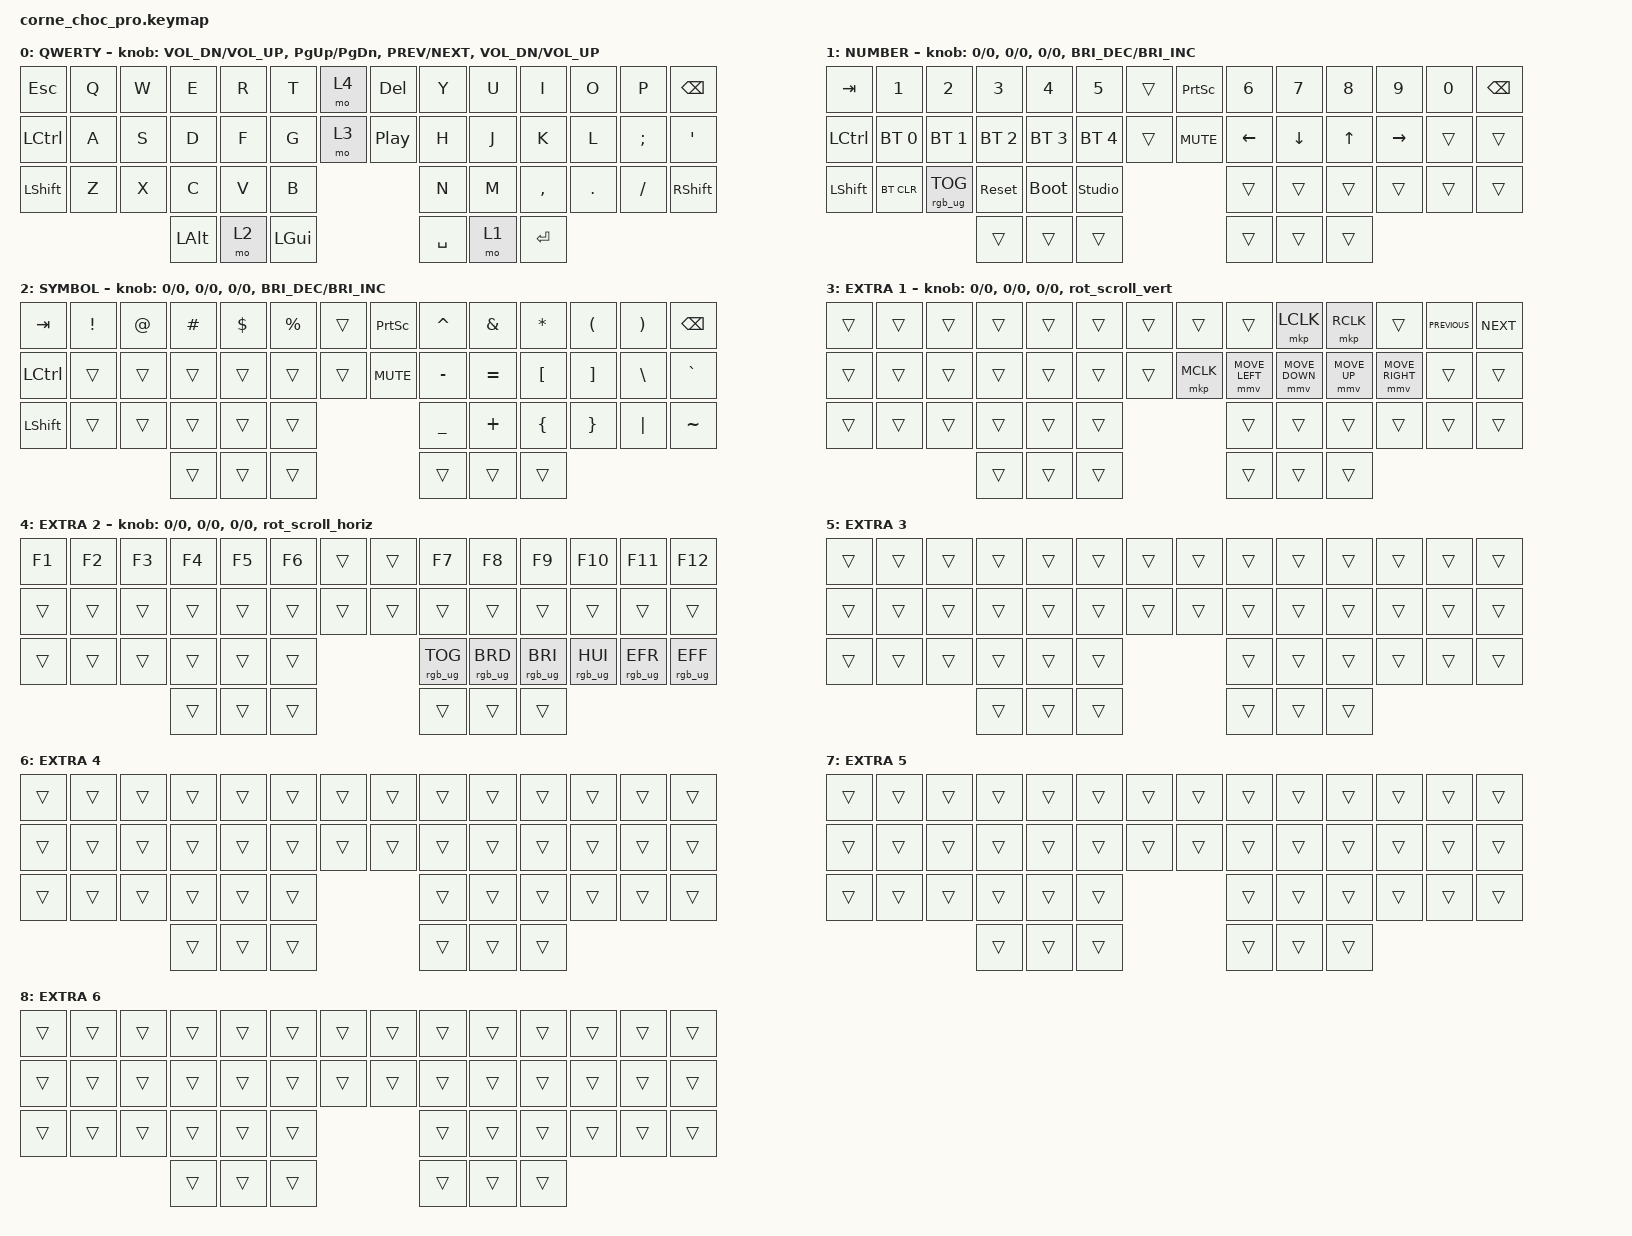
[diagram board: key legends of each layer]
/*
 * Copyright (c) 2020 The ZMK Contributors
 *
 * SPDX-License-Identifier: MIT
 */

#include <behaviors.dtsi>
#include <dt-bindings/zmk/bt.h>
#include <dt-bindings/zmk/keys.h>
#define ZMK_POINTING_DEFAULT_SCRL_VAL 200
#include <dt-bindings/zmk/pointing.h>
#include <dt-bindings/zmk/rgb.h>

/ {
    chosen { zmk,physical-layout = &default_layout; };

    behaviors {
        rot_scroll_vert: rot_scroll_vert {
            compatible = "zmk,behavior-sensor-rotate";
            #sensor-binding-cells = <0>;
            bindings = <&msc SCRL_DOWN>, <&msc SCRL_UP>;
            tap-ms = <20>;
        };

        rot_scroll_horiz: rot_scroll_horiz {
            compatible = "zmk,behavior-sensor-rotate";
            #sensor-binding-cells = <0>;
            bindings = <&msc SCRL_LEFT>, <&msc SCRL_RIGHT>;
            tap-ms = <20>;
        };
    };
};

/ {
    keymap {
        compatible = "zmk,keymap";

        default_layer {
            display-name = "QWERTY";

            // --------------------------------------------------------------------------------
            // |  TAB |  Q  |  W  |  E  |  R  |  T  |  MUTE |  PP   |  Y  |  U   |  I  |  O  |  P  | BSPC |
            // | CTRL |  A  |  S  |  D  |  F  |  G  |  LALT |  RALT |  H  |  J   |  K  |  L  |  ;  |  '   |
            // | SHFT |  Z  |  X  |  C  |  V  |  B  |               |  N  |  M   |  ,  |  .  |  /  | ESC  |
            //                    | GUI | LWR | SPC |               | ENT | RSE  | ALT |

            bindings = <
&kp ESC    &kp Q  &kp W  &kp E         &kp R  &kp T         &mo 4  &kp DELETE        &kp Y      &kp U  &kp I       &kp O    &kp P     &kp BSPC
&kp LCTRL  &kp A  &kp S  &kp D         &kp F  &kp G         &mo 3  &kp C_PLAY_PAUSE  &kp H      &kp J  &kp K       &kp L    &kp SEMI  &kp SQT
&kp LSHFT  &kp Z  &kp X  &kp C         &kp V  &kp B                                  &kp N      &kp M  &kp COMMA   &kp DOT  &kp FSLH  &kp RSHIFT
                         &kp LEFT_ALT  &mo 2  &kp LEFT_GUI                           &kp SPACE  &mo 1  &kp RETURN
            >;

            sensor-bindings =
                <&inc_dec_kp C_VOL_DN C_VOL_UP>,
                <&inc_dec_kp PG_UP PG_DN>,
                <&inc_dec_kp C_PREV C_NEXT>,
                <&inc_dec_kp C_VOL_DN C_VOL_UP>;
        };

        lower_layer {
            display-name = "NUMBER";

            // -----------------------------------------------------------------------------------------
            // |  TAB |  1  |  2  |  3  |  4  |  5    |  LCTRL | RCTRL |  6  |  7  |  8  |  9  |  0  | BSPC |
            // | CTRL | BT1 | BT2 | BT3 | BT4 | BT5   |  LALT  | RALT  | LFT | DWN |  UP | RGT |     |      |
            // | SHFT | BTCR| RGB | RST | BOOT| Unlock|        |       |     |     |     |     |     |      |
            //                    | GUI |     | SPC   |        | ENT   |     | ALT |

            bindings = <
&kp TAB    &kp N1        &kp N2           &kp N3        &kp N4        &kp N5          &trans  &kp PRINTSCREEN  &kp N6    &kp N7    &kp N8  &kp N9     &kp N0  &kp BSPC
&kp LCTRL  &bt BT_SEL 0  &bt BT_SEL 1     &bt BT_SEL 2  &bt BT_SEL 3  &bt BT_SEL 4    &trans  &kp C_MUTE       &kp LEFT  &kp DOWN  &kp UP  &kp RIGHT  &trans  &trans
&kp LSHFT  &bt BT_CLR    &rgb_ug RGB_TOG  &sys_reset    &bootloader   &studio_unlock                           &trans    &trans    &trans  &trans     &trans  &trans
                                          &trans        &trans        &trans                                   &trans    &trans    &trans
            >;

            sensor-bindings =
                <&inc_dec_kp 0 0>,
                <&inc_dec_kp 0 0>,
                <&inc_dec_kp 0 0>,
                <&inc_dec_kp C_BRI_DEC C_BRI_INC>;
        };

        raise_layer {
            display-name = "SYMBOL";

            // -----------------------------------------------------------------------------------------
            // |  TAB |  !  |  @  |  #  |  $  |  %  | LCTRL | RCTRL |  ^  |  &  |  *  |  (  |  )  | BSPC |
            // | CTRL |     |     |     |     |     |  LALT | RALT  |  -  |  =  |  [  |  ]  |  \  |  `   |
            // | SHFT |     |     |     |     |     |               |  _  |  +  |  {  |  }  | "|" |  ~   |
            //                    | GUI |     | SPC |               | ENT |     | ALT |

            bindings = <
&kp TAB    &kp EXCL  &kp AT  &kp HASH  &kp DLLR  &kp PRCNT  &trans  &kp PRINTSCREEN  &kp CARET  &kp AMPS   &kp ASTRK  &kp LPAR  &kp RPAR  &kp BSPC
&kp LCTRL  &trans    &trans  &trans    &trans    &trans     &trans  &kp C_MUTE       &kp MINUS  &kp EQUAL  &kp LBKT   &kp RBKT  &kp BSLH  &kp GRAVE
&kp LSHFT  &trans    &trans  &trans    &trans    &trans                              &kp UNDER  &kp PLUS   &kp LBRC   &kp RBRC  &kp PIPE  &kp TILDE
                             &trans    &trans    &trans                              &trans     &trans     &trans
            >;

            sensor-bindings =
                <&inc_dec_kp 0 0>,
                <&inc_dec_kp 0 0>,
                <&inc_dec_kp 0 0>,
                <&inc_dec_kp C_BRI_DEC C_BRI_INC>;
        };

        extra_layer_1 {
            display-name = "EXTRA 1";
            bindings = <
&trans  &trans  &trans  &trans  &trans  &trans  &trans  &trans     &trans          &mkp LCLK       &mkp RCLK     &trans           &kp C_PREVIOUS  &kp C_NEXT
&trans  &trans  &trans  &trans  &trans  &trans  &trans  &mkp MCLK  &mmv MOVE_LEFT  &mmv MOVE_DOWN  &mmv MOVE_UP  &mmv MOVE_RIGHT  &trans          &trans
&trans  &trans  &trans  &trans  &trans  &trans                     &trans          &trans          &trans        &trans           &trans          &trans
                        &trans  &trans  &trans                     &trans          &trans          &trans
            >;

            sensor-bindings =
                <&inc_dec_kp 0 0>,
                <&inc_dec_kp 0 0>,
                <&inc_dec_kp 0 0>,
                <&rot_scroll_vert>;
        };

        extra_layer_2 {
            display-name = "EXTRA 2";
            bindings = <
&kp F1  &kp F2  &kp F3  &kp F4  &kp F5  &kp F6  &trans  &trans  &kp F7           &kp F8           &kp F9           &kp F10          &kp F11          &kp F12
&trans  &trans  &trans  &trans  &trans  &trans  &trans  &trans  &trans           &trans           &trans           &trans           &trans           &trans
&trans  &trans  &trans  &trans  &trans  &trans                  &rgb_ug RGB_TOG  &rgb_ug RGB_BRD  &rgb_ug RGB_BRI  &rgb_ug RGB_HUI  &rgb_ug RGB_EFR  &rgb_ug RGB_EFF
                        &trans  &trans  &trans                  &trans           &trans           &trans
            >;

            sensor-bindings =
                <&inc_dec_kp 0 0>,
                <&inc_dec_kp 0 0>,
                <&inc_dec_kp 0 0>,
                <&rot_scroll_horiz>;
        };

        extra_layer_3 {
            display-name = "EXTRA 3";
            bindings = <
&trans  &trans  &trans  &trans  &trans  &trans  &trans  &trans  &trans  &trans  &trans  &trans  &trans  &trans
&trans  &trans  &trans  &trans  &trans  &trans  &trans  &trans  &trans  &trans  &trans  &trans  &trans  &trans
&trans  &trans  &trans  &trans  &trans  &trans                  &trans  &trans  &trans  &trans  &trans  &trans
                        &trans  &trans  &trans                  &trans  &trans  &trans
            >;
        };

        extra_layer_4 {
            display-name = "EXTRA 4";
            bindings = <
&trans  &trans  &trans  &trans  &trans  &trans  &trans  &trans  &trans  &trans  &trans  &trans  &trans  &trans
&trans  &trans  &trans  &trans  &trans  &trans  &trans  &trans  &trans  &trans  &trans  &trans  &trans  &trans
&trans  &trans  &trans  &trans  &trans  &trans                  &trans  &trans  &trans  &trans  &trans  &trans
                        &trans  &trans  &trans                  &trans  &trans  &trans
            >;
        };

        extra_layer_5 {
            display-name = "EXTRA 5";
            bindings = <
&trans  &trans  &trans  &trans  &trans  &trans  &trans  &trans  &trans  &trans  &trans  &trans  &trans  &trans
&trans  &trans  &trans  &trans  &trans  &trans  &trans  &trans  &trans  &trans  &trans  &trans  &trans  &trans
&trans  &trans  &trans  &trans  &trans  &trans                  &trans  &trans  &trans  &trans  &trans  &trans
                        &trans  &trans  &trans                  &trans  &trans  &trans
            >;
        };

        extra_layer_6 {
            display-name = "EXTRA 6";
            bindings = <
&trans  &trans  &trans  &trans  &trans  &trans  &trans  &trans  &trans  &trans  &trans  &trans  &trans  &trans
&trans  &trans  &trans  &trans  &trans  &trans  &trans  &trans  &trans  &trans  &trans  &trans  &trans  &trans
&trans  &trans  &trans  &trans  &trans  &trans                  &trans  &trans  &trans  &trans  &trans  &trans
                        &trans  &trans  &trans                  &trans  &trans  &trans
            >;
        };
    };
};
